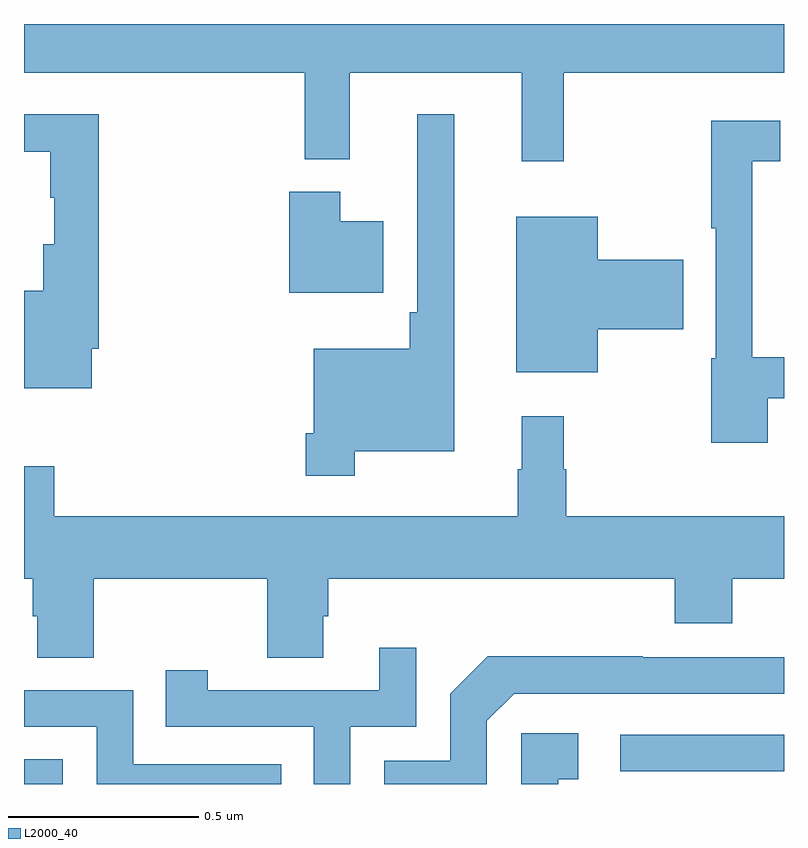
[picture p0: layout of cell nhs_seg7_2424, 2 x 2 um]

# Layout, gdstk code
import gdstk
lib = gdstk.Library(unit=1e-6, precision=1e-09)
def R(c, l, rs):  # rectangles x0, y0, x1, y1
    for r in rs: c.add(gdstk.rectangle(r[:2], r[2:], *l))
def P(c, l, *ps):  # polygons
    for p in ps: c.add(gdstk.Polygon(p, *l))
L2000_40 = (2000, 40)

nhs_seg7_2424 = lib.new_cell('nhs_seg7_2424')
R(nhs_seg7_2424, L2000_40, [(144,1076,144.102,1076.065), (145.569,1076.034,146,1076.13)])
P(nhs_seg7_2424, L2000_40, [(145.42,1077.872),(146,1077.872),(146,1078),(144,1078),(144,1077.872),(144.739,1077.872),(144.739,1077.644),(144.857,1077.644),(144.857,1077.872),(145.31,1077.872),(145.31,1077.639),(145.42,1077.639)],
  [(144.871,1076.876),(145.132,1076.876),(145.132,1077.763),(145.035,1077.763),(145.035,1077.241),(145.015,1077.241),(145.015,1077.145),(144.762,1077.145),(144.762,1076.923),(144.742,1076.923),(144.742,1076.811),(144.871,1076.811)],
  [(144.178,1077.145),(144.197,1077.145),(144.197,1077.762),(144,1077.762),(144,1077.664),(144.069,1077.664),(144.069,1077.543),(144.08,1077.543),(144.08,1077.421),(144.05,1077.421),(144.05,1077.298),(144,1077.298),(144,1077.041),(144.178,1077.041)],
  [(145.957,1077.015),(146,1077.015),(146,1077.123),(145.917,1077.123),(145.917,1077.639),(145.99,1077.639),(145.99,1077.745),(145.809,1077.745),(145.809,1077.463),(145.821,1077.463),(145.821,1077.12),(145.809,1077.12),(145.809,1076.898),(145.957,1076.898)],
  [(144.946,1077.481),(144.832,1077.481),(144.832,1077.559),(144.698,1077.559),(144.698,1077.293),(144.946,1077.293)],
  [(145.51,1077.197),(145.735,1077.197),(145.735,1077.38),(145.51,1077.38),(145.51,1077.493),(145.295,1077.493),(145.295,1077.083),(145.51,1077.083)],
  [(144.183,1076.54),(144.64,1076.54),(144.64,1076.332),(144.787,1076.332),(144.787,1076.442),(144.8,1076.442),(144.8,1076.54),(145.712,1076.54),(145.712,1076.423),(145.864,1076.423),(145.864,1076.54),(146,1076.54),(146,1076.704),(145.427,1076.704),(145.427,1076.828),(145.42,1076.828),(145.42,1076.968),(145.31,1076.968),(145.31,1076.828),(145.299,1076.828),(145.299,1076.704),(144.08,1076.704),(144.08,1076.836),(144,1076.836),(144,1076.54),(144.023,1076.54),(144.023,1076.442),(144.035,1076.442),(144.035,1076.332),(144.183,1076.332)],
  [(144.858,1076.151),(145.032,1076.151),(145.032,1076.359),(144.935,1076.359),(144.935,1076.247),(144.484,1076.247),(144.484,1076.299),(144.373,1076.299),(144.373,1076.151),(144.762,1076.151),(144.762,1076),(144.858,1076)],
  [(145.218,1076.166),(145.29,1076.238),(146,1076.238),(146,1076.334),(145.628,1076.334),(145.628,1076.336),(145.22,1076.336),(145.122,1076.238),(145.122,1076.061),(144.948,1076.061),(144.948,1076),(145.218,1076)],
  [(144.677,1076.052),(144.288,1076.052),(144.288,1076.247),(144,1076.247),(144,1076.151),(144.192,1076.151),(144.192,1076),(144.677,1076)],
  [(145.406,1076.013),(145.459,1076.013),(145.459,1076.134),(145.308,1076.134),(145.308,1076),(145.406,1076)])

lib.write_gds('nhs_seg7_2424.gds')
